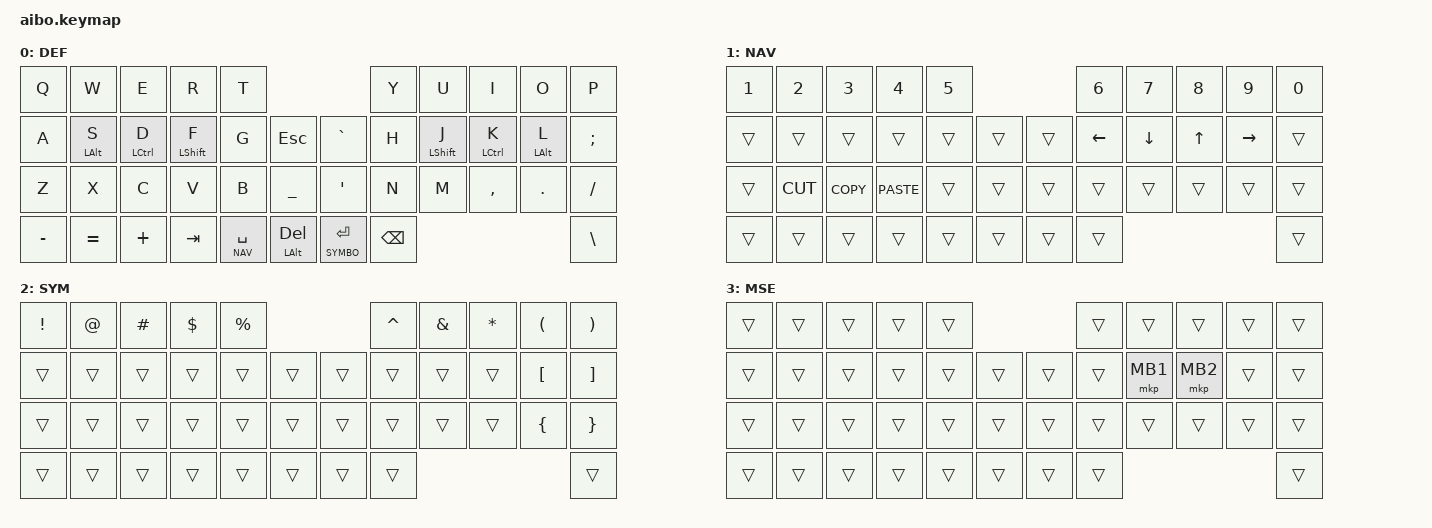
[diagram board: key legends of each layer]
/*
 * Copyright (c) 2020 The ZMK Contributors
 *
 * SPDX-License-Identifier: MIT
 */

#include <behaviors.dtsi>
#include <dt-bindings/zmk/keys.h>
#include <dt-bindings/zmk/bt.h>
#include <dt-bindings/zmk/mouse.h>

#define BASE 0
#define NAV 1
#define SYMBO 2
#define MOUSE 3
#define SCROLL 4

#include "key_def/42.h"

/* Homerow mods */

#define QUICK_TAP_MS 98

#define KEYS_L LT0 LT1 LT2 LT3 LT4 LM0 LM1 LM2 LM3 LM4 LM5 LB0 LB1 LB2 LB3 LB4 LB5  // left hand
#define KEYS_R RT0 RT1 RT2 RT3 RT4 RM0 RM1 RM2 RM3 RM4 RM5 RB0 RB1 RB2 RB3 RB4 RB5  // right hand
#define KEYS_T LH2 LH1 LH0 RH0 RH1                                                  // thumbs

&mt {
    flavor = "hold-preferred";
    tapping-term-ms = <150>;
};

&lt {
    flavor = "balanced";
    tapping-term-ms = <150>;
};

/ {
        behaviors {

                // Positional Homerow mods
                // Homerow mods that prevent accidental activations when rolling keys,
                // such as when typing `st` or `ne` on colemak-dh layouts or `as` on
                // qwerty.
                //
                // Works by only allowing a mod to activate within tapping-term if
                // it's on the opposite side of the keyboard or on the same side thumb
                // keys.

                // Further optimization using urob's timerless homerow mods method:
                // https://github.com/urob/zmk-config#timeless-homerow-mods

                hml: homerow_mods_left {
                        compatible = "zmk,behavior-hold-tap";
                        #binding-cells = <2>;

                        flavor = "balanced";
                        tapping-term-ms = <280>;
                        quick-tap-ms = <QUICK_TAP_MS>;
                        require-prior-idle-ms = <100>;
                        bindings = <&kp>, <&kp>;
                        hold-trigger-key-positions = <KEYS_R KEYS_T>;
                        hold-trigger-on-release;
                };

                hmr: homerow_mods_right {
                        compatible = "zmk,behavior-hold-tap";
                        #binding-cells = <2>;
                        bindings = <&kp>, <&kp>;

                        flavor = "balanced";
                        tapping-term-ms = <280>;
                        quick_tap_ms = <QUICK_TAP_MS>;
                        require-prior-idle-ms = <100>;
                        bindings = <&kp>, <&kp>;
                        hold-trigger-key-positions = <KEYS_L KEYS_T>;
                        hold-trigger-on-release;
                };
        };

        keymap {
                compatible = "zmk,keymap";

                default_layer {
                        display-name = "DEF";
// -----------------------------------------------------------------------------------------
// |  Q  |  W  |  E  |  R  |  T  |               |  Y   |  U  |  I  |  O  |  P  |
// |  A  |  S  |  D  |  F  |  G  | ESC |   |  ~  |  H   |  J  |  K  |  L  |  ;  |
// |  Z  |  X  |  C  |  V  |  B  |  _  |   |  "  |  N   |  M  |  <  |  >  |  ?  |
// |  -  |  =  |  +  | TAB |SPACE| ALT |   | RET | BSPC |                 |  \  |
                        bindings = <
   &kp Q     &kp W          &kp E           &kp R           &kp T                                        &kp Y    &kp U           &kp I           &kp O          &kp P
   &kp A     &hml LALT S    &hml LCTRL D    &hml LSHFT F    &kp G          &kp ESC         &kp GRAVE     &kp H    &hmr LSHFT J    &hmr LCTRL K    &hmr LALT L    &kp SEMI
   &kp Z     &kp X          &kp C           &kp V           &kp B          &kp UNDER       &kp SQT       &kp N    &kp M           &kp COMMA       &kp DOT        &kp FSLH
   &kp MINUS &kp EQUAL      &kp PLUS        &kp TAB         &lt NAV SPACE  &mt LALT DEL    &lt SYMBO RET &kp BSPC                                                &kp BSLH
                        >;
                };
                nav_layer {
                        display-name = "NAV";
// -----------------------------------------------------------------------------------------
// |  1  |  2  |  3  |  4  |  5  |               |  6   |  7  |  8  |  9  |  0  |
// |     |     |     |     |     |     |   |     | LFT  | DWN |  UP | RGT |     |
// |     | CUT |COPY |PASTE|     |     |   |     |      |     |     |     |     |
// |     |     |     |     |     |     |   | RET | BSPC |                 |     |
                        bindings = <
   &kp N1      &kp N2    &kp N3      &kp N4      &kp N5                        &kp N6    &kp N7    &kp N8  &kp N9    &kp N0
   &trans      &trans    &trans      &trans      &trans    &trans    &trans    &kp LEFT  &kp DOWN  &kp UP  &kp RIGHT &trans
   &trans      &kp K_CUT &kp K_COPY  &kp K_PASTE &trans    &trans    &trans    &trans    &trans    &trans  &trans    &trans
   &trans      &trans    &trans      &trans      &trans    &trans    &trans    &trans                                &trans
                        >;
                };

                symbol_layer {
                        display-name = "SYM";
// -----------------------------------------------------------------------------------------
// |  !  |  @  |  #  |  $  |  %  |               |  ^   |  &  |  *  |  (  |  )  |
// |     |     |     |     |     |     |   |     |      |     |     |  [  |  ]  |
// |     |     |     |     |     |     |   |     |      |     |     |  {  |  }  |
// |     |     |     |     |     |     |   |     |      |                 |     |
                        bindings = <
   &kp EXCL    &kp AT    &kp HASH    &kp DLLR    &kp PRCNT                     &kp CARET   &kp AMPS    &kp ASTRK    &kp LPAR    &kp RPAR
   &trans      &trans    &trans      &trans      &trans    &trans    &trans    &trans      &trans      &trans       &kp LBKT    &kp RBKT
   &trans      &trans    &trans      &trans      &trans    &trans    &trans    &trans      &trans      &trans       &kp LBRC    &kp RBRC
   &trans      &trans    &trans      &trans      &trans    &trans    &trans    &trans                                           &trans
                        >;
                };

                MOUSE {
                        display-name = "MSE";
// -----------------------------------------------------------------------------------------
// |     |     |     |     |     |               |      |      |      |      |     |
// |     |     |     |     |     |     |   |     |      | LCLK | RCLK |      |     |
// |     |     |     |     |     |     |   |     |      |      |      |      |     |
// |     |     |     |     |     |     |   |     |      |                    |     |
                        bindings = <
   &trans      &trans    &trans      &trans      &trans                        &trans      &trans      &trans       &trans      &trans
   &trans      &trans    &trans      &trans      &trans    &trans    &trans    &trans      &mkp MB1    &mkp MB2     &trans      &trans
   &trans      &trans    &trans      &trans      &trans    &trans    &trans    &trans      &trans      &trans       &trans      &trans
   &trans      &trans    &trans      &trans      &trans    &trans    &trans    &trans                                           &trans
                        >;
                };
        };
};
